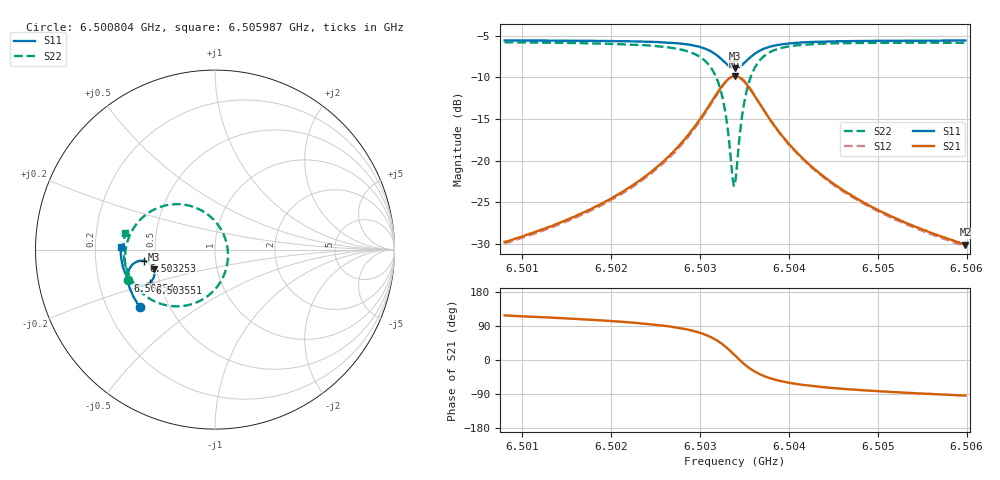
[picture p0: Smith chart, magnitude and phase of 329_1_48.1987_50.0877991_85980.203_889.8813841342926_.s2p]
#  HZ  S  RI  R  50.00
! Rohde & Schwarz Vector Network Analyzer
! Rohde-Schwarz,ZNB20-2Port,1311601062101988,3.16
! Created: UTC 3/20/2024, 11:50:48 AM
! freq[Hz]  re:S11  im:S11  re:S21  im:S21  re:S12  im:S12  re:S22  im:S22
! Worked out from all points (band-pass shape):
!   401 points, 6.500804 GHz to 6.505987 GHz, reference 50 ohm
!   highest |S21| = -9.86 dB at 6.503396 GHz (marker M1); lowest = -30.1 dB at 6.505987 GHz (marker M2)
!   |S21| within 3 dB of the highest: 6.503136 GHz to 6.503654 GHz (518.2 kHz wide, 0.00797 % of centre)
!   lowest |S11| = -8.9 dB at 6.503396 GHz (marker M3), VSWR 2.11, Z = 24.1 - j6.11 ohm
!   |S11| at or under -10 dB: nowhere
!   |S22| runs from -23.0 to -5.8 dB; largest |S21 - S12| = 0.011
!   S11 on the Smith chart (normalised r, x): 6.500804 GHz: 0.34, -0.30; 6.50254 GHz: 0.33, -0.15; 6.503253 GHz: 0.43, -0.06; 6.503551 GHz: 0.44, -0.20; 6.505987 GHz: 0.31, +0.01
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6.5008039e9  -0.4195 -0.3181  -0.0151 0.0289  -0.0134 0.0291  -0.4855 -0.1672
6.5016721e9  -0.4578 -0.2552  -0.0146 0.0462  -0.0122 0.0459  -0.5011 -0.0773
6.5021386e9  -0.4748 -0.2148  -0.012 0.0643  -0.00897 0.0634  -0.4997 -0.0132
6.5025403e9  -0.4851 -0.1718  -0.00334 0.0938  0.000264 0.0917  -0.4815 0.0635
6.5027995e9  -0.4848 -0.135  0.0151 0.128  0.019 0.1243  -0.4423 0.136
6.5029809e9  -0.4737 -0.1018  0.0494 0.1638  0.0526 0.1583  -0.3751 0.2018
6.5031493e9  -0.4395 -0.0689  0.1261 0.1966  0.1273 0.1903  -0.2347 0.2522
6.503253e9  -0.3974 -0.0618  0.2101 0.188  0.2104 0.1827  -0.0883 0.2249
6.5033048e9  -0.3724 -0.0703  0.2576 0.1605  0.2586 0.1558  -0.00923 0.1684
6.5033696e9  -0.3462 -0.0964  0.3046 0.0979  0.307 0.0928  0.0612 0.048
6.5033956e9  -0.34 -0.1104  0.3146 0.0665  0.3177 0.0605  0.0718 -0.0104
6.5034085e9  -0.3381 -0.1181  0.3172 0.0499  0.3203 0.0436  0.0725 -0.0404
6.5034603e9  -0.339 -0.1484  0.3117 -0.0143  0.3143 -0.023  0.0445 -0.1544
6.5034863e9  -0.3441 -0.1619  0.3006 -0.0427  0.3023 -0.0525  0.0157 -0.2022
6.503551e9  -0.3648 -0.1872  0.2586 -0.0957  0.2574 -0.1066  -0.0788 -0.2829
6.5036547e9  -0.4036 -0.2017  0.1858 -0.1311  0.1805 -0.1402  -0.2251 -0.3161
6.5038232e9  -0.4488 -0.1919  0.106 -0.1284  0.0994 -0.1331  -0.3686 -0.2706
6.5040046e9  -0.4758 -0.1706  0.0625 -0.109  0.0565 -0.1109  -0.4391 -0.2069
6.5042638e9  -0.4963 -0.1404  0.0332 -0.0853  0.0286 -0.0859  -0.4816 -0.1358
6.5046395e9  -0.5114 -0.1019  0.015 -0.0634  0.0117 -0.0629  -0.5034 -0.0637
6.505132e9  -0.5211 -0.0568  0.00477 -0.0466  0.0027 -0.0461  -0.5097 0.00409
6.5059872e9  -0.5258 0.0151  -0.00206 -0.0312  -0.00349 -0.0305  -0.5014 0.0927
